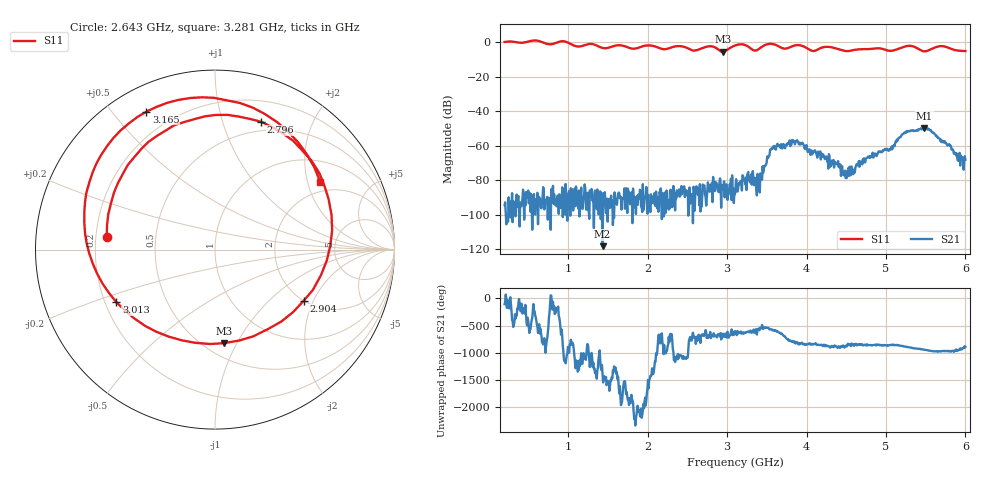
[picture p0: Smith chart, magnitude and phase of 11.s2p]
! NanoVNA-App by OneOfEleven et al v1.1.209 (+OD15)
! Date: 2024-07-30 15:18:03
! Start: 200MHz Stop: 6GHz Points: 801
! S-Parameter data: F S11 S21 S12 S22
# Hz S RI R 50
!  Frequency  S11_Real  S11_Imag  S21_Real  S21_Imag  S12_Real  S12_Imag  S22_Real  S22_Imag
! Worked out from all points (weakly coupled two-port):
!   801 points, 200 MHz to 6 GHz, reference 50 ohm
!   highest |S21| = -49.84 dB at 5.485 GHz (marker M1); lowest = -118.3 dB at 1.433 GHz (marker M2)
!   lowest |S11| = -5.6 dB at 2.948 GHz (marker M3), VSWR 3.20, Z = 30.9 - j44.4 ohm
!   |S11| at or under -10 dB: nowhere
!   S12 and S22 are empty: the file has one direction only
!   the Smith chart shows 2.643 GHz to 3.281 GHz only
!   S11 on the Smith chart (normalised r, x): 2.643 GHz: 0.24, +0.05; 2.796 GHz: 0.40, +1.34; 2.904 GHz: 2.01, -1.69; 3.013 GHz: 0.25, -0.24; 3.165 GHz: 0.11, +0.61; 3.281 GHz: 1.65, +2.41
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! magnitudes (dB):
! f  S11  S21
! 200 MHz  0.0  -94.5
! 1.171 GHz  -2.3  -93.5
! 1.433 GHz  -3.4  -118.3
! 2.136 GHz  -3.3  -98.3
! 2.643 GHz  -4.3  -84.8
! 2.796 GHz  -2.4  -85.2
! 2.904 GHz  -4.9  -81.9
! 2.948 GHz  -5.6  -83.0
! 3.013 GHz  -4.1  -88.8
! 3.1 GHz  -2.0  -88.2
! 3.165 GHz  -1.3  -81.2
! 3.281 GHz  -3.1  -80.3
! 3.412 GHz  -3.6  -87.2
! 3.607 GHz  -1.5  -60.9
! 3.854 GHz  -2.0  -59.3
! 4.072 GHz  -5.1  -65.1
! 4.383 GHz  -3.9  -70.8
! 4.492 GHz  -5.2  -78.8
! 5.036 GHz  -5.0  -63.0
! 5.239 GHz  -2.6  -52.5
! 5.485 GHz  -5.4  -49.8
! 6 GHz  -5.2  -68.2
